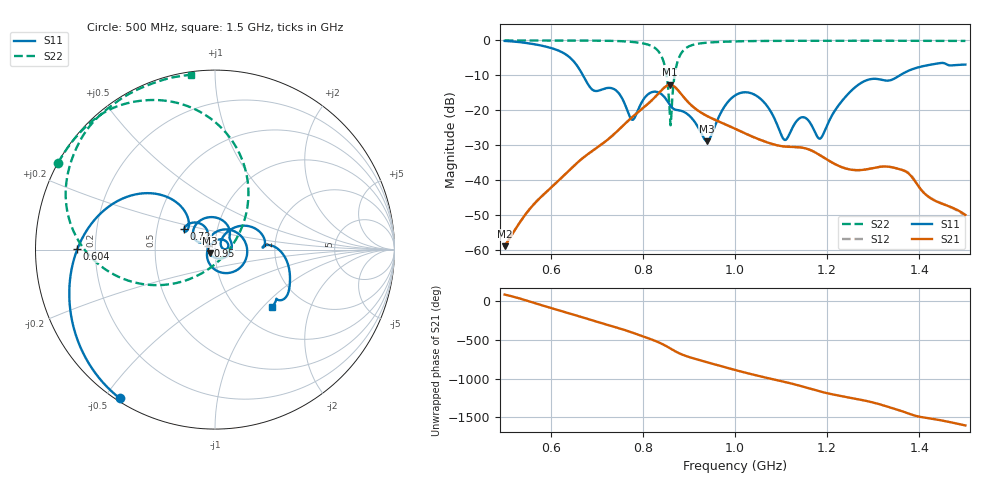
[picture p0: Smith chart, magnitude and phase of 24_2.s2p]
! TOUCHSTONE file generated by CST MICROWAVE STUDIO
! Date and time: Fri Oct  2 16:23:41 2020
! Project name: Scenario_1_Free_Space_out_of_line.cst
! Parameters = {Lambda=346.42; Step_1=17.321; dy1=-51.203; dx1=346; L_HA=400; MT=2.54; Rad_Dielectric=30; Rad_Lower=7.3; Rad_Upper=30; a_HA=580; a_WG=246; b_HA=500; b_WG=121; c_HA=0; c_WG=187; d_feed=85; h_feed=15; h_lower=18; h_upper=40}
! Header version: 2018
! Port assignment regex: !\s*Touchstone port\s*([0-9]+)\s*=\s*(CST MWS port|CST DS port)\s*([0-9]+|Zmin|Zmax)\s*\(\"(.*)\"\)(\s*mode\s*([0-9]+))?.*
! Touchstone port assignment:
! Touchstone port 1 = CST MWS port 1 ("")
! Touchstone port 2 = CST MWS port 2 ("")
# GHz S DB R 50
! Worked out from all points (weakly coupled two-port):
!   1003 points, 500 MHz to 1.5 GHz, reference 50 ohm
!   highest |S21| = -12.73 dB at 859 MHz (marker M1); lowest = -59.0 dB at 500 MHz (marker M2)
!   lowest |S11| = -28.9 dB at 939 MHz (marker M3), VSWR 1.07, Z = 47.1 - j1.88 ohm
!   |S11| at or under -10 dB: 670 MHz to 1.358 GHz (688 MHz wide, 67.8 % of centre)
!   |S22| runs from -24.4 to 0.0 dB; largest |S21 - S12| = 0.00035
!   S11 on the Smith chart (normalised r, x): 500 MHz: 0.01, -0.55; 604 MHz: 0.13, +0.00; 720 MHz: 0.69, +0.16; 950 MHz: 0.92, +0.04; 1.5 GHz: 1.42, -1.13
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0.5  -0.14 -122.7  -59.02 80.9  -59.02 80.9  -0.01 151.1
0.604  -2.30 179.9  -41.83 -97.4  -41.83 -97.4  -0.02 143.8
0.667  -9.29 129.3  -34.03 151.6  -34.03 151.6  -0.04 138.3
0.692  -14.26 139.3  -31.54 105.9  -31.54 105.9  -0.06 135.7
0.72  -13.70 146.7  -28.85 57.4  -28.85 57.4  -0.10 132.1
0.777  -22.76 134.3  -21.98 -48.1  -21.98 -48.1  -0.43 121.1
0.834  -14.92 90.1  -15.20 -172.9  -15.20 -172.9  -3.15 88.6
0.848  -16.43 61.8  -13.38 146.9  -13.38 146.9  -7.56 64.2
0.859  -18.55 45.5  -12.73 109.5  -12.73 109.5  -22.42 -3.5
0.869  -19.79 37.4  -13.30 75.1  -13.30 75.1  -9.93 -142.7
0.883  -20.19 19.1  -15.35 34.8  -15.35 34.8  -3.75 -172.4
0.939  -28.90 -146.2  -21.66 -69.3  -21.66 -69.3  -0.65 151.4
0.95  -26.76 154.7  -22.38 -87.4  -22.38 -87.4  -0.54 148.7
1  -15.79 29.0  -25.34 -169.1  -25.34 -169.1  -0.28 140.3
1.056  -16.81 -65.3  -28.57 107.5  -28.57 107.5  -0.15 133.8
1.107  -28.49 158.4  -30.43 38.4  -30.43 38.4  -0.12 129.0
1.142  -22.18 34.9  -30.70 -14.5  -30.70 -14.5  -0.11 126.1
1.167  -24.53 1.8  -31.65 -57.4  -31.65 -57.4  -0.10 124.2
1.185  -28.14 29.1  -32.97 -86.3  -32.97 -86.3  -0.09 122.8
1.261  -13.39 38.5  -37.20 -178.3  -37.20 -178.3  -0.08 116.9
1.334  -11.50 3.2  -36.24 73.9  -36.23 73.9  -0.09 111.4
1.5  -6.92 -44.8  -50.06 -162.5  -50.27 -158.5  -0.15 97.9
